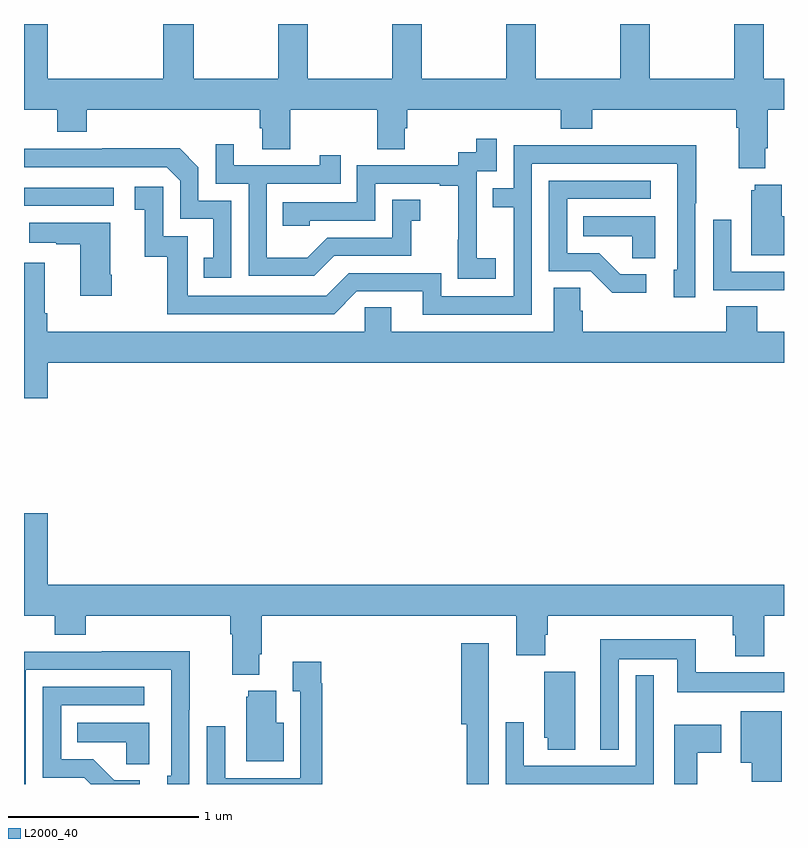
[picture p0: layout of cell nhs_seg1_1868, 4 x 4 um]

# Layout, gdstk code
import gdstk
lib = gdstk.Library(unit=1e-6, precision=1e-09)
def R(c, l, rs):  # rectangles x0, y0, x1, y1
    for r in rs: c.add(gdstk.rectangle(r[:2], r[2:], *l))
def P(c, l, *ps):  # polygons
    for p in ps: c.add(gdstk.Polygon(p, *l))
L2000_40 = (2000, 40)

nhs_seg1_1868 = lib.new_cell('nhs_seg1_1868')
R(nhs_seg1_1868, L2000_40, [(213,535.242,213.472,535.338)])
P(nhs_seg1_1868, L2000_40, [(216.901,535.546),(216.914,535.546),(216.914,535.748),(217,535.748),(217,535.912),(216.894,535.912),(216.894,536.199),(216.739,536.199),(216.739,535.912),(216.294,535.912),(216.294,536.199),(216.139,536.199),(216.139,535.912),(215.694,535.912),(215.694,536.199),(215.539,536.199),(215.539,535.912),(215.094,535.912),(215.094,536.199),(214.939,536.199),(214.939,535.912),(214.494,535.912),(214.494,536.199),(214.339,536.199),(214.339,535.912),(213.894,535.912),(213.894,536.199),(213.734,536.199),(213.734,535.912),(213.124,535.912),(213.124,536.199),(213,536.199),(213,535.748),(213.176,535.748),(213.176,535.631),(213.329,535.631),(213.329,535.748),(214.241,535.748),(214.241,535.65),(214.253,535.65),(214.253,535.54),(214.401,535.54),(214.401,535.748),(214.858,535.748),(214.858,535.54),(215.005,535.54),(215.005,535.65),(215.018,535.65),(215.018,535.748),(215.825,535.748),(215.825,535.649),(215.99,535.649),(215.99,535.748),(216.749,535.748),(216.749,535.652),(216.761,535.652),(216.761,535.439),(216.901,535.439)],
  [(215.482,534.967),(215.384,534.967),(215.384,535.196),(215.382,535.196),(215.382,535.425),(215.487,535.425),(215.487,535.594),(215.379,535.594),(215.379,535.524),(215.286,535.524),(215.286,535.455),(214.752,535.455),(214.752,535.26),(214.363,535.26),(214.363,535.137),(214.503,535.137),(214.503,535.164),(214.848,535.164),(214.848,535.359),(215.189,535.359),(215.189,535.347),(215.285,535.347),(215.285,535.063),(215.284,535.063),(215.284,534.857),(215.482,534.857)],
  [(214.633,534.978),(215.037,534.978),(215.037,535.163),(215.086,535.163),(215.086,535.273),(214.938,535.273),(214.938,535.074),(214.596,535.074),(214.492,534.97),(214.278,534.97),(214.278,535.359),(214.667,535.359),(214.667,535.507),(214.556,535.507),(214.556,535.455),(214.105,535.455),(214.105,535.567),(214.008,535.567),(214.008,535.359),(214.182,535.359),(214.182,534.873),(214.528,534.873)],
  [(215.673,535.464),(216.438,535.464),(216.438,534.906),(216.419,534.906),(216.419,534.762),(216.534,534.762),(216.534,535.255),(216.537,535.255),(216.537,535.562),(216.073,535.562),(216.073,535.56),(215.577,535.56),(215.577,535.335),(215.467,535.335),(215.467,535.234),(215.577,535.234),(215.577,534.765),(215.196,534.765),(215.196,534.888),(214.71,534.888),(214.59,534.768),(213.861,534.768),(213.861,535.083),(213.732,535.083),(213.732,535.342),(213.582,535.342),(213.582,535.221),(213.635,535.221),(213.635,534.975),(213.753,534.975),(213.753,534.672),(214.632,534.672),(214.752,534.792),(215.099,534.792),(215.099,534.669),(215.673,534.669)],
  [(214.092,535.269),(213.918,535.269),(213.918,535.446),(213.82,535.544),(213.412,535.544),(213.412,535.542),(213,535.542),(213,535.446),(213.75,535.446),(213.822,535.374),(213.822,535.173),(213.995,535.173),(213.995,534.969),(213.946,534.969),(213.946,534.864),(214.092,534.864)],
  [(216.274,534.882),(216.139,534.882),(216.028,534.993),(215.859,534.993),(215.859,535.278),(216.298,535.278),(216.298,535.374),(215.763,535.374),(215.763,534.897),(215.982,534.897),(216.095,534.785),(216.274,534.785)],
  [(217,535.186),(216.988,535.186),(216.988,535.354),(216.845,535.354),(216.845,535.323),(216.827,535.323),(216.827,534.983),(217,534.983)],
  [(216.322,535.186),(215.944,535.186),(215.944,535.082),(216.201,535.082),(216.201,534.967),(216.322,534.967)],
  [(217,534.894),(216.723,534.894),(216.723,535.168),(216.627,535.168),(216.627,534.798),(216.943,534.798),(216.943,534.797),(217,534.797)],
  [(213.462,534.88),(213.454,534.88),(213.454,535.153),(213.027,535.153),(213.027,535.049),(213.17,535.049),(213.17,535.039),(213.296,535.039),(213.296,534.768),(213.462,534.768)],
  [(213.124,534.416),(217,534.416),(217,534.58),(216.86,534.58),(216.86,534.713),(216.695,534.713),(216.695,534.58),(215.942,534.58),(215.942,534.689),(215.928,534.689),(215.928,534.812),(215.789,534.812),(215.789,534.58),(214.933,534.58),(214.933,534.707),(214.794,534.707),(214.794,534.58),(213.122,534.58),(213.122,534.676),(213.109,534.676),(213.109,534.943),(213,534.943),(213,534.228),(213.124,534.228)],
  [(214.237,532.882),(214.25,532.882),(214.25,533.084),(215.591,533.084),(215.591,532.876),(215.743,532.876),(215.743,532.985),(215.756,532.985),(215.756,533.084),(216.731,533.084),(216.731,532.983),(216.743,532.983),(216.743,532.871),(216.896,532.871),(216.896,533.084),(217,533.084),(217,533.248),(213.124,533.248),(213.124,533.623),(213,533.623),(213,533.084),(213.161,533.084),(213.161,532.985),(213.326,532.985),(213.326,533.084),(214.085,533.084),(214.085,532.988),(214.097,532.988),(214.097,532.775),(214.237,532.775)],
  [(216.129,532.856),(216.438,532.856),(216.438,532.682),(217,532.682),(217,532.786),(216.536,532.786),(216.536,532.96),(216.032,532.96),(216.032,532.379),(216.129,532.379)],
  [(215.445,532.618),(215.446,532.618),(215.446,532.939),(215.3,532.939),(215.3,532.514),(215.329,532.514),(215.329,532.199),(215.445,532.199)],
  [(213.009,532.8),(213.774,532.8),(213.774,532.242),(213.755,532.242),(213.755,532.199),(213.87,532.199),(213.87,532.591),(213.873,532.591),(213.873,532.898),(213.409,532.898),(213.409,532.896),(213,532.896),(213,532.199),(213.009,532.199)],
  [(214.571,532.73),(214.564,532.73),(214.564,532.843),(214.415,532.843),(214.415,532.687),(214.455,532.687),(214.455,532.23),(214.059,532.23),(214.059,532.504),(213.963,532.504),(213.963,532.199),(214.571,532.199)],
  [(215.902,532.791),(215.738,532.791),(215.738,532.443),(215.756,532.443),(215.756,532.38),(215.902,532.38)],
  [(216.315,532.771),(216.219,532.771),(216.219,532.294),(215.631,532.294),(215.631,532.525),(215.535,532.525),(215.535,532.199),(216.315,532.199)],
  [(213.61,532.218),(213.475,532.218),(213.364,532.329),(213.195,532.329),(213.195,532.614),(213.634,532.614),(213.634,532.71),(213.099,532.71),(213.099,532.233),(213.318,532.233),(213.352,532.199),(213.61,532.199)],
  [(214.366,532.522),(214.327,532.522),(214.327,532.69),(214.181,532.69),(214.181,532.659),(214.169,532.659),(214.169,532.319),(214.366,532.319)],
  [(216.988,532.582),(216.773,532.582),(216.773,532.31),(216.83,532.31),(216.83,532.211),(216.988,532.211)],
  [(213.658,532.522),(213.28,532.522),(213.28,532.418),(213.537,532.418),(213.537,532.303),(213.658,532.303)],
  [(216.544,532.363),(216.67,532.363),(216.67,532.51),(216.422,532.51),(216.422,532.199),(216.544,532.199)])

lib.write_gds('nhs_seg1_1868.gds')
